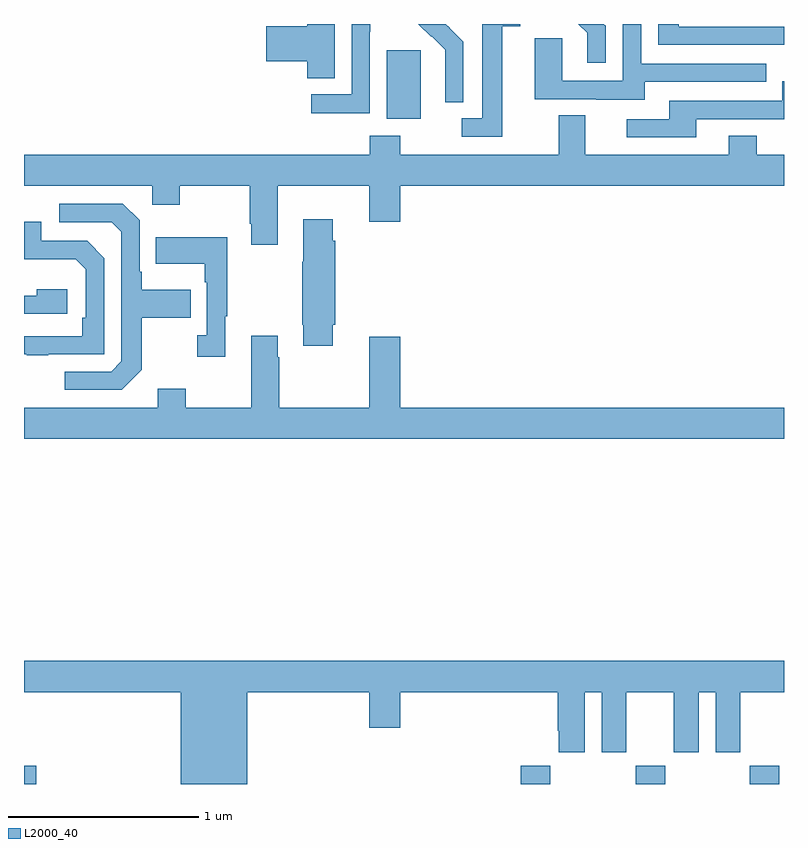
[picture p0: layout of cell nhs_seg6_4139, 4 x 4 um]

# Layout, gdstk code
import gdstk
lib = gdstk.Library(unit=1e-6, precision=1e-09)
def R(c, l, rs):  # rectangles x0, y0, x1, y1
    for r in rs: c.add(gdstk.rectangle(r[:2], r[2:], *l))
def P(c, l, *ps):  # polygons
    for p in ps: c.add(gdstk.Polygon(p, *l))
L2000_40 = (2000, 40)

nhs_seg6_4139 = lib.new_cell('nhs_seg6_4139')
R(nhs_seg6_4139, L2000_40, [(355,965.5,355.064,965.596), (357.614,965.5,357.769,965.596), (358.219,965.5,358.374,965.596), (358.819,965.5,358.974,965.596), (356.909,969.002,357.088,969.363)])
P(nhs_seg6_4139, L2000_40, [(358.062,969.49),(358.052,969.5),(357.918,969.5),(357.965,969.453),(357.965,969.297),(358.062,969.297)],
  [(356.82,969.46),(356.823,969.46),(356.823,969.5),(356.724,969.5),(356.724,969.129),(356.511,969.129),(356.511,969.031),(356.82,969.031)],
  [(358.267,969.195),(358.907,969.195),(358.907,969.291),(358.248,969.291),(358.248,969.5),(358.152,969.5),(358.152,969.201),(357.834,969.201),(357.834,969.425),(357.689,969.425),(357.689,969.105),(358.013,969.105),(358.013,969.101),(358.267,969.101)],
  [(356.635,969.5),(356.492,969.5),(356.492,969.488),(356.274,969.488),(356.274,969.305),(356.492,969.305),(356.492,969.214),(356.635,969.214)],
  [(357.312,969.406),(357.239,969.479),(357.24,969.48),(357.22,969.5),(357.076,969.5),(357.144,969.432),(357.147,969.435),(357.218,969.365),(357.218,969.242),(357.216,969.242),(357.216,969.088),(357.312,969.088)],
  [(359,969.486),(358.447,969.486),(358.447,969.5),(358.338,969.5),(358.338,969.39),(359,969.39)],
  [(357.517,969.488),(357.613,969.488),(357.613,969.5),(357.413,969.5),(357.413,969.003),(357.303,969.003),(357.303,968.907),(357.517,968.907)],
  [(358.537,969),(359,969),(359,969.199),(358.992,969.199),(358.992,969.096),(358.397,969.096),(358.397,969),(358.173,969),(358.173,968.904),(358.537,968.904)],
  [(356.335,968.648),(356.816,968.648),(356.816,968.46),(356.98,968.46),(356.98,968.648),(359,968.648),(359,968.812),(358.857,968.812),(358.857,968.911),(358.709,968.911),(358.709,968.812),(357.955,968.812),(357.955,969.02),(357.815,969.02),(357.815,968.812),(356.979,968.812),(356.979,968.911),(356.819,968.911),(356.819,968.812),(355,968.812),(355,968.648),(355.674,968.648),(355.674,968.549),(355.821,968.549),(355.821,968.648),(356.188,968.648),(356.188,968.449),(356.195,968.449),(356.195,968.337),(356.335,968.337)],
  [(355.621,967.681),(355.621,967.954),(355.877,967.954),(355.877,968.101),(355.621,968.101),(355.621,968.197),(355.608,968.197),(355.608,968.466),(355.521,968.553),(355.185,968.553),(355.185,968.457),(355.461,968.457),(355.512,968.406),(355.512,967.725),(355.458,967.671),(355.215,967.671),(355.215,967.575),(355.515,967.575)],
  [(356.626,967.918),(356.639,967.918),(356.639,968.36),(356.626,968.36),(356.626,968.473),(356.471,968.473),(356.471,968.249),(356.464,968.249),(356.464,967.918),(356.471,967.918),(356.471,967.806),(356.626,967.806)],
  [(355.127,967.761),(355.422,967.761),(355.422,968.268),(355.332,968.358),(355.092,968.358),(355.092,968.46),(355,968.46),(355,968.261),(355.273,968.261),(355.326,968.208),(355.326,967.954),(355.306,967.954),(355.306,967.857),(355,967.857),(355,967.761),(355.015,967.761),(355.015,967.756),(355.127,967.756)],
  [(356.059,967.961),(356.071,967.961),(356.071,968.377),(355.693,968.377),(355.693,968.237),(355.95,968.237),(355.95,968.141),(355.962,968.141),(355.962,967.862),(355.911,967.862),(355.911,967.749),(356.059,967.749)],
  [(355.228,968.104),(355.067,968.104),(355.067,968.07),(355,968.07),(355,967.974),(355.228,967.974)],
  [(359,967.48),(356.98,967.48),(356.98,967.855),(356.816,967.855),(356.816,967.48),(356.343,967.48),(356.343,967.745),(356.335,967.745),(356.335,967.858),(356.195,967.858),(356.195,967.48),(355.851,967.48),(355.851,967.579),(355.703,967.579),(355.703,967.48),(355,967.48),(355,967.316),(359,967.316)],
  [(355,965.984),(355.826,965.984),(355.826,965.5),(356.176,965.5),(356.176,965.984),(356.816,965.984),(356.816,965.796),(356.98,965.796),(356.98,965.984),(357.809,965.984),(357.809,965.779),(357.815,965.779),(357.815,965.667),(357.952,965.667),(357.952,965.984),(358.04,965.984),(358.04,965.667),(358.171,965.667),(358.171,965.984),(358.421,965.984),(358.421,965.667),(358.552,965.667),(358.552,965.984),(358.64,965.984),(358.64,965.667),(358.771,965.667),(358.771,965.984),(359,965.984),(359,966.148),(355,966.148)])

lib.write_gds('nhs_seg6_4139.gds')
